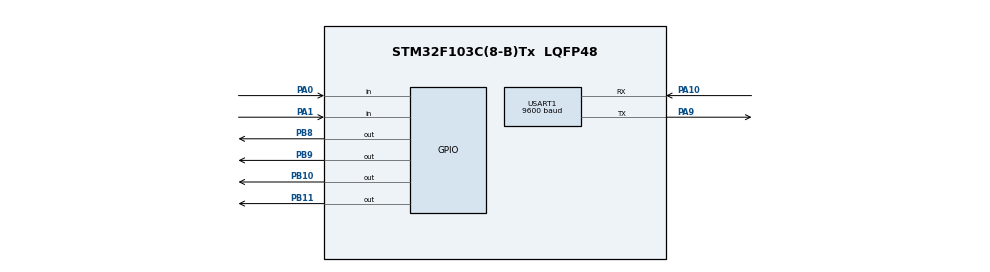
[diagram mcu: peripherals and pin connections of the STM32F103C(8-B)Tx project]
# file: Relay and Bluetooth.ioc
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Mcu.Family=STM32F1
Mcu.Name=STM32F103C(8-B)Tx
Mcu.Package=LQFP48
NVIC.PriorityGroup=NVIC_PRIORITYGROUP_4
PA0-WKUP.Signal=GPIO_Input
PA1.Signal=GPIO_Input
PA10.Mode=Asynchronous
PA10.Signal=USART1_RX
PA13.Mode=Serial_Wire
PA13.Signal=SYS_JTMS-SWDIO
PA14.Mode=Serial_Wire
PA14.Signal=SYS_JTCK-SWCLK
PA9.Mode=Asynchronous
PA9.Signal=USART1_TX
PB10.Signal=GPIO_Output
PB11.Signal=GPIO_Output
PB8.GPIO_PuPd=GPIO_NOPULL
PB8.PinState=GPIO_PIN_SET
PB8.Signal=GPIO_Output
PB9.PinState=GPIO_PIN_SET
PB9.Signal=GPIO_Output
ProjectManager.HeapSize=0x200
ProjectManager.StackSize=0x400
ProjectManager.TargetToolchain=MDK-ARM V5.32
RCC.APB1Freq_Value=8000000
RCC.APB2Freq_Value=8000000
USART1.BaudRate=9600
USART1.VirtualMode=VM_ASYNC
board=custom

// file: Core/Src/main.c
/* USER CODE BEGIN Header */
/* USER CODE END Header */
#include "main.h"

UART_HandleTypeDef huart1;

/* USER CODE BEGIN PV */
uint8_t data;
float temperature = 0;   // later real DHT11
uint8_t auto_mode = 1;
/* USER CODE END PV */

void SystemClock_Config(void);
static void MX_GPIO_Init(void);
static void MX_USART1_UART_Init(void);

int main(void)
{

  /* MCU Configuration--------------------------------------------------------*/

  /* Reset of all peripherals, Initializes the Flash interface and the Systick. */
  HAL_Init();

  /* Configure the system clock */
  SystemClock_Config();

  /* Initialize all configured peripherals */
  MX_GPIO_Init();
  MX_USART1_UART_Init();
  /* USER CODE BEGIN 2 */
	HAL_GPIO_WritePin(GPIOB, GPIO_PIN_10, GPIO_PIN_SET); // Relay 3 OFF
HAL_GPIO_WritePin(GPIOB, GPIO_PIN_11, GPIO_PIN_SET); // Relay 4 OFF
HAL_GPIO_WritePin(GPIOB, GPIO_PIN_8, GPIO_PIN_SET);  // Relay 2 OFF
HAL_GPIO_WritePin(GPIOB, GPIO_PIN_9, GPIO_PIN_SET);  // Relay 1 OFF
  /* USER CODE END 2 */

  /* Infinite loop */
  /* USER CODE BEGIN WHILE */
	while (1)
{
    /* ================= MOBILE CONTROL ================= */
    if(HAL_UART_Receive(&huart1, &data, 1, 10) == HAL_OK)
  {
    // Relay 2
    if(data == '1') HAL_GPIO_WritePin(GPIOB, GPIO_PIN_8, GPIO_PIN_RESET);
    if(data == '0') HAL_GPIO_WritePin(GPIOB, GPIO_PIN_8, GPIO_PIN_SET);

    // Relay 3
    if(data == '2') HAL_GPIO_WritePin(GPIOB, GPIO_PIN_10, GPIO_PIN_RESET);
    if(data == '3') HAL_GPIO_WritePin(GPIOB, GPIO_PIN_10, GPIO_PIN_SET);

    // Relay 4
    if(data == '4') HAL_GPIO_WritePin(GPIOB, GPIO_PIN_11, GPIO_PIN_RESET);
    if(data == '5') HAL_GPIO_WritePin(GPIOB, GPIO_PIN_11, GPIO_PIN_SET);
  }

    /* ================= IR SENSOR ? RELAY 1 ================= */
    if(HAL_GPIO_ReadPin(GPIOA, GPIO_PIN_0) == GPIO_PIN_RESET)
    {
        HAL_GPIO_WritePin(GPIOB, GPIO_PIN_9, GPIO_PIN_RESET);
    }
    else
    {
        HAL_GPIO_WritePin(GPIOB, GPIO_PIN_9, GPIO_PIN_SET);
    }

    /* ================= DHT11 ? RELAY 2 OVERRIDE ================= */
    if(temperature > 30)
    {
        HAL_GPIO_WritePin(GPIOB, GPIO_PIN_8, GPIO_PIN_RESET);
    }
}
    /* USER CODE END WHILE */

}

void SystemClock_Config(void)
{
  RCC_OscInitTypeDef RCC_OscInitStruct = {0};
  RCC_ClkInitTypeDef RCC_ClkInitStruct = {0};

  /** Initializes the RCC Oscillators according to the specified parameters
  * in the RCC_OscInitTypeDef structure.
  */
  RCC_OscInitStruct.OscillatorType = RCC_OSCILLATORTYPE_HSI;
  RCC_OscInitStruct.HSIState = RCC_HSI_ON;
  RCC_OscInitStruct.HSICalibrationValue = RCC_HSICALIBRATION_DEFAULT;
  RCC_OscInitStruct.PLL.PLLState = RCC_PLL_NONE;
  if (HAL_RCC_OscConfig(&RCC_OscInitStruct) != HAL_OK)
  {
    Error_Handler();
  }

  /** Initializes the CPU, AHB and APB buses clocks
  */
  RCC_ClkInitStruct.ClockType = RCC_CLOCKTYPE_HCLK|RCC_CLOCKTYPE_SYSCLK
                              |RCC_CLOCKTYPE_PCLK1|RCC_CLOCKTYPE_PCLK2;
  RCC_ClkInitStruct.SYSCLKSource = RCC_SYSCLKSOURCE_HSI;
  RCC_ClkInitStruct.AHBCLKDivider = RCC_SYSCLK_DIV1;
  RCC_ClkInitStruct.APB1CLKDivider = RCC_HCLK_DIV1;
  RCC_ClkInitStruct.APB2CLKDivider = RCC_HCLK_DIV1;

  if (HAL_RCC_ClockConfig(&RCC_ClkInitStruct, FLASH_LATENCY_0) != HAL_OK)
  {
    Error_Handler();
  }
}

static void MX_USART1_UART_Init(void)
{

  huart1.Instance = USART1;
  huart1.Init.BaudRate = 9600;
  huart1.Init.WordLength = UART_WORDLENGTH_8B;
  huart1.Init.StopBits = UART_STOPBITS_1;
  huart1.Init.Parity = UART_PARITY_NONE;
  huart1.Init.Mode = UART_MODE_TX_RX;
  huart1.Init.HwFlowCtl = UART_HWCONTROL_NONE;
  huart1.Init.OverSampling = UART_OVERSAMPLING_16;
  if (HAL_UART_Init(&huart1) != HAL_OK)
  {
    Error_Handler();
  }

}

static void MX_GPIO_Init(void)
{
  GPIO_InitTypeDef GPIO_InitStruct = {0};

  /* GPIO Ports Clock Enable */
  __HAL_RCC_GPIOA_CLK_ENABLE();
  __HAL_RCC_GPIOB_CLK_ENABLE();

  /*Configure GPIO pin Output Level */
  HAL_GPIO_WritePin(GPIOB, GPIO_PIN_10|GPIO_PIN_11, GPIO_PIN_RESET);

  /*Configure GPIO pin Output Level */
  HAL_GPIO_WritePin(GPIOB, GPIO_PIN_8|GPIO_PIN_9, GPIO_PIN_SET);

  /*Configure GPIO pins : PA0 PA1 */
  GPIO_InitStruct.Pin = GPIO_PIN_0|GPIO_PIN_1;
  GPIO_InitStruct.Mode = GPIO_MODE_INPUT;
  GPIO_InitStruct.Pull = GPIO_NOPULL;
  HAL_GPIO_Init(GPIOA, &GPIO_InitStruct);

  /*Configure GPIO pins : PB10 PB11 PB8 PB9 */
  GPIO_InitStruct.Pin = GPIO_PIN_10|GPIO_PIN_11|GPIO_PIN_8|GPIO_PIN_9;
  GPIO_InitStruct.Mode = GPIO_MODE_OUTPUT_PP;
  GPIO_InitStruct.Pull = GPIO_NOPULL;
  GPIO_InitStruct.Speed = GPIO_SPEED_FREQ_LOW;
  HAL_GPIO_Init(GPIOB, &GPIO_InitStruct);

}

void Error_Handler(void)
{
}
